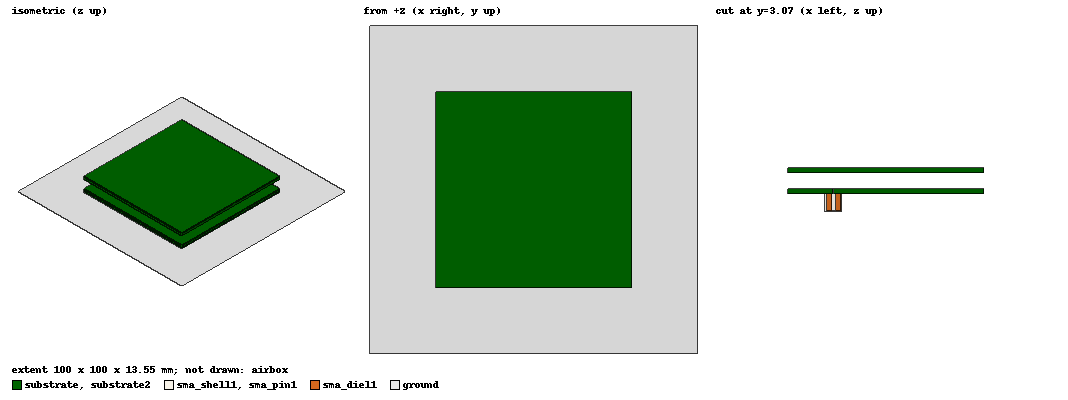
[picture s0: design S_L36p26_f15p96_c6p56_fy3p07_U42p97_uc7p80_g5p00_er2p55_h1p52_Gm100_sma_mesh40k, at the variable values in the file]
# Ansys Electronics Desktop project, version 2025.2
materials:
  vacuum: permittivity=1
  sma_ptfe: permittivity=2.1 permeability=1 dielectric_loss_tangent=0.0004
  substrate_design: permittivity=2.55 permeability=1 dielectric_loss_tangent=0.0018
  copper: permeability=0.999991 conductivity=58000000
  pec: conductivity=1e+30

design S_L36p26_f15p96_c6p56_fy3p07_U42p97_uc7p80_g5p00_er2p55_h1p52_Gm100_sma_mesh40k (HFSS, HFSS Modal Network, model units mm)
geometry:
  substrate [substrate_design] = box(corner=(-30mm, -30mm, 0mm), size=(60mm, 60mm, 1.524mm))
  ground = rectangle(corner=(-50mm, -50mm, 0mm), x_size=100mm, y_size=100mm)
  hole1 = circle(normal=Z, centre=(15.96mm, 3.07mm, 0mm), radius=0.8mm)
  ground.subtract(hole1)
  patch = polyline(z=1.524mm, xy in mm: (-11.57, 18.13) (18.13, 18.13) (18.13, -11.57) (11.57, -18.13) (-18.13, -18.13) (-18.13, 11.57) (-11.57, 18.13), closed, covered)
  substrate2 [substrate_design] = box(corner=(-30mm, -30mm, 6.524mm), size=(60mm, 60mm, 1.524mm))
  patch2 = polyline(z=6.524mm, xy in mm: (-13.685, 21.485) (21.485, 21.485) (21.485, -13.685) (13.685, -21.485) (-21.485, -21.485) (-21.485, 13.685) (-13.685, 21.485), closed, covered)
  pin1 [pec] = cylinder(axis=Z, base_centre=(15.96mm, 3.07mm, 0mm), radius=0.25mm, height=1.524mm)
  pin1_1 = pin1.copy()
  substrate.subtract(pin1_1)
  sma_shell1 [pec] = cylinder(axis=Z, base_centre=(15.96mm, 3.07mm, -5.5mm), radius=2.6261016mm, height=5.5mm)
  sma_diel1 [sma_ptfe] = cylinder(axis=Z, base_centre=(15.96mm, 3.07mm, -5mm), radius=2.1261016mm, height=5mm)
  sma_diel1_1 = sma_diel1.copy()
  sma_shell1.subtract(sma_diel1_1)
  sma_pin1 [pec] = cylinder(axis=Z, base_centre=(15.96mm, 3.07mm, -5mm), radius=0.635mm, height=5mm)
  sma_pin1_1 = sma_pin1.copy()
  sma_diel1.subtract(sma_pin1_1)
  airbox [vacuum] = box(corner=(-80.906439mm, -80.906439mm, -36.406439mm), size=(161.81288mm, 161.81288mm, 75.360878mm))
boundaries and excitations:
  Cu_sheets: Finite Conductivity Objects=[patch, ground, patch2] UseMaterial Material=copper Roughness=0mm IsInternal
  Rad__6AKNBE: Radiation Objects=airbox
  P1: Wave Port Faces=sma_diel1.face(-z end) WavePortType=Modal NumModes=1 DeembedDist=5mm Modes{Mode1{IntLine{(16.595, 3.07, -5) -> (18.086102, 3.07, -5)} CharImp=Zpi RenormImp=50ohm}}
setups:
  Setup1: HfssDriven Frequency=2.425GHz MaxDeltaS=1e-05 MaximumPasses=12 MinimumPasses=1 MinimumConvergedPasses=2 PercentRefinement=30 BasisOrder=1 PortAccuracy=2 DrivenSolverType="Direct Solver"
    sweep S: 2.2GHz to 2.7GHz, 1001 points; Type=Interpolating InterpTolerance=0.5 InterpMaxSolns=250 InterpUsePortImped=false PassivityErrorTolerance=0.0001
    sweep FF: 2.325GHz to 2.525GHz step 0.005GHz; Type=Discrete SaveFields
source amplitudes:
  P1:1: 1W 0deg
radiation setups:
  ff: Infinite Sphere Theta=-180deg..180deg step 2deg Phi=0deg..90deg step 90deg
